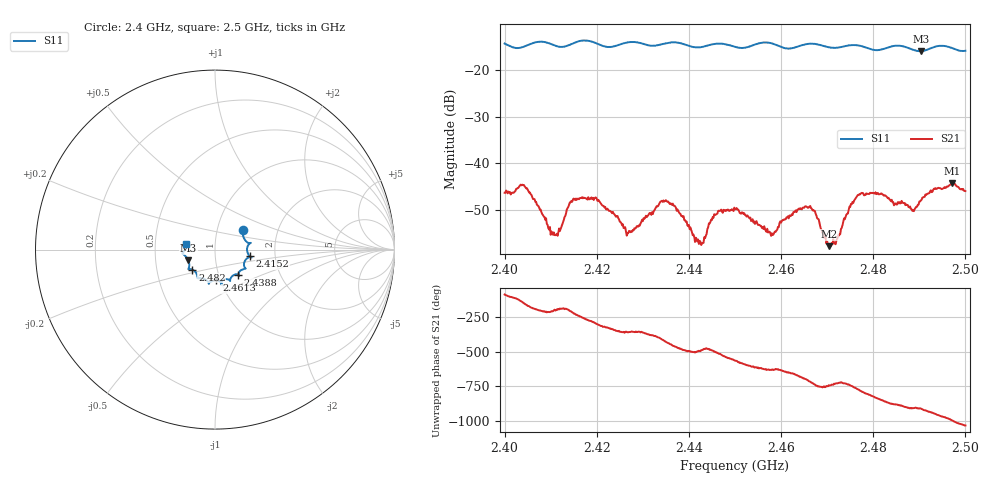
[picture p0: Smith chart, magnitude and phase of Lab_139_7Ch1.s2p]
# Hz S RI R 50
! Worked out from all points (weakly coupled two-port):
!   601 points, 2.4 GHz to 2.5 GHz, reference 50 ohm
!   highest |S21| = -44.19 dB at 2.4972 GHz (marker M1); lowest = -57.8 dB at 2.4705 GHz (marker M2)
!   lowest |S11| = -15.9 dB at 2.4903 GHz (marker M3), VSWR 1.38, Z = 36.8 - j4.46 ohm
!   |S11| at or under -10 dB: start of sweep to end of sweep
!   S12 and S22 are empty: the file has one direction only
!   S11 on the Smith chart (normalised r, x): 2.4 GHz: 1.33, +0.31; 2.4152 GHz: 1.48, -0.12; 2.4388 GHz: 1.24, -0.36; 2.4613 GHz: 0.96, -0.34; 2.482 GHz: 0.76, -0.17; 2.5 GHz: 0.72, +0.05
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2.4e9  0.1582 0.1119  0.000297 -0.00483  0 0  0 0
2.404333e9  0.1751 0.0443  -0.0051 -0.00252  0 0  0 0
2.411e9  0.1825 0.02  -0.00157 0.000654  0 0  0 0
2.415167e9  0.1938 -0.0378  -0.00292 0.00285  0 0  0 0
2.416667e9  0.2033 -0.044  -0.0015 0.00398  0 0  0 0
2.42e9  0.1894 -0.0425  0.00209 0.00359  0 0  0 0
2.426833e9  0.1705 -0.1045  0.00179 9.54e-06  0 0  0 0
2.433333e9  0.1324 -0.1314  0.00278 -0.00212  0 0  0 0
2.438833e9  0.1297 -0.1408  -0.00167 -0.00214  0 0  0 0
2.442667e9  0.0934 -0.1508  -0.000857 -0.00102  0 0  0 0
2.446e9  0.084 -0.1742  -0.00236 -0.00161  0 0  0 0
2.45e9  0.069 -0.1649  -0.00289 0.0014  0 0  0 0
2.457833e9  0.0381 -0.192  7.97e-05 0.00167  0 0  0 0
2.461333e9  0.00767 -0.1713  0.000952 0.00246  0 0  0 0
2.466667e9  -0.0349 -0.19  0.00326 -0.000295  0 0  0 0
2.4705e9  -0.0483 -0.1696  0.00116 -0.000565  0 0  0 0
2.476833e9  -0.0965 -0.1577  0.00264 -0.00374  0 0  0 0
2.482e9  -0.1257 -0.1117  -0.00312 -0.00344  0 0  0 0
2.483333e9  -0.1394 -0.1087  -0.00375 -0.00206  0 0  0 0
2.490333e9  -0.1493 -0.059  -0.00391 0.000886  0 0  0 0
2.497167e9  -0.1727 -0.00956  0.00105 0.00609  0 0  0 0
2.5e9  -0.1589 0.0326  0.00359 0.00356  0 0  0 0
